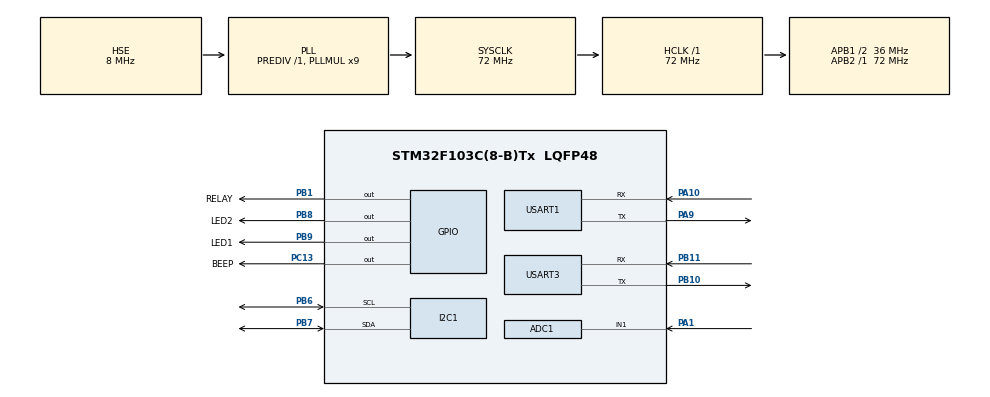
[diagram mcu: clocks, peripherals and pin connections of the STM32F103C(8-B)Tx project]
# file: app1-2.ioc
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ADC1.Channel-0\#ChannelRegularConversion=ADC_CHANNEL_1
ADC1.NbrOfConversionFlag=1
ADC1.Rank-0\#ChannelRegularConversion=1
ADC1.SamplingTime-0\#ChannelRegularConversion=ADC_SAMPLETIME_239CYCLES_5
ADC1.master=1
Dma.Request0=USART3_RX
Dma.USART3_RX.0.Direction=DMA_PERIPH_TO_MEMORY
Dma.USART3_RX.0.Instance=DMA1_Channel3
Dma.USART3_RX.0.MemDataAlignment=DMA_MDATAALIGN_BYTE
Dma.USART3_RX.0.MemInc=DMA_MINC_ENABLE
Dma.USART3_RX.0.Mode=DMA_CIRCULAR
Dma.USART3_RX.0.PeriphDataAlignment=DMA_PDATAALIGN_BYTE
Dma.USART3_RX.0.PeriphInc=DMA_PINC_DISABLE
Dma.USART3_RX.0.Priority=DMA_PRIORITY_HIGH
Mcu.Family=STM32F1
Mcu.Name=STM32F103C(8-B)Tx
Mcu.Package=LQFP48
NVIC.DMA1_Channel3_IRQn=true\:0\:0\:false\:false\:true\:false\:true\:true
NVIC.PriorityGroup=NVIC_PRIORITYGROUP_4
NVIC.TIM1_UP_IRQn=true\:15\:0\:false\:false\:true\:true\:true\:true
NVIC.TIM4_IRQn=true\:0\:0\:false\:false\:true\:true\:true\:true
NVIC.TimeBase=TIM1_UP_IRQn
NVIC.TimeBaseIP=TIM1
NVIC.USART3_IRQn=true\:0\:0\:false\:false\:true\:true\:true\:true
PA1.Signal=ADCx_IN1
PA10.Mode=Asynchronous
PA10.Signal=USART1_RX
PA13.Mode=Serial_Wire
PA13.Signal=SYS_JTMS-SWDIO
PA14.Mode=Serial_Wire
PA14.Signal=SYS_JTCK-SWCLK
PA9.Mode=Asynchronous
PA9.Signal=USART1_TX
PB1.GPIO_Label=RELAY
PB1.Signal=GPIO_Output
PB10.Mode=Asynchronous
PB10.Signal=USART3_TX
PB11.Mode=Asynchronous
PB11.Signal=USART3_RX
PB6.Mode=I2C
PB6.Signal=I2C1_SCL
PB7.Mode=I2C
PB7.Signal=I2C1_SDA
PB8.GPIO_Label=LED2
PB8.PinState=GPIO_PIN_SET
PB8.Signal=GPIO_Output
PB9.GPIO_Label=LED1
PB9.PinState=GPIO_PIN_SET
PB9.Signal=GPIO_Output
PC13-TAMPER-RTC.GPIO_Label=BEEP
PC13-TAMPER-RTC.Signal=GPIO_Output
PD0-OSC_IN.Mode=HSE-External-Oscillator
PD0-OSC_IN.Signal=RCC_OSC_IN
PD1-OSC_OUT.Mode=HSE-External-Oscillator
PD1-OSC_OUT.Signal=RCC_OSC_OUT
ProjectManager.HeapSize=0x400
ProjectManager.StackSize=0x800
ProjectManager.TargetToolchain=MDK-ARM V5.32
RCC.ADCPresc=RCC_ADCPCLK2_DIV6
RCC.AHBFreq_Value=72000000
RCC.APB1CLKDivider=RCC_HCLK_DIV2
RCC.APB1Freq_Value=36000000
RCC.APB1TimFreq_Value=72000000
RCC.APB2Freq_Value=72000000
RCC.APB2TimFreq_Value=72000000
RCC.HCLKFreq_Value=72000000
RCC.PLLMUL=RCC_PLL_MUL9
RCC.PLLSourceVirtual=RCC_PLLSOURCE_HSE
RCC.RTCClockSelection=RCC_RTCCLKSOURCE_HSE_DIV128
RCC.SYSCLKFreq_VALUE=72000000
RCC.SYSCLKSource=RCC_SYSCLKSOURCE_PLLCLK
RCC.USBFreq_Value=72000000
SH.ADCx_IN1.0=ADC1_IN1,IN1
TIM4.AutoReloadPreload=TIM_AUTORELOAD_PRELOAD_DISABLE
TIM4.Period=100
TIM4.Prescaler=7200-1
USART1.VirtualMode=VM_ASYNC
USART3.VirtualMode=VM_ASYNC
VP_SYS_VS_tim1.Mode=TIM1
VP_TIM4_VS_ClockSourceINT.Mode=Internal
board=custom

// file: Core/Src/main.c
/* USER CODE BEGIN Header */
/**
  ******************************************************************************
  * @file           : main.c
  * @brief          : Main program body
  ******************************************************************************
  * @attention
  *
  * Copyright (c) 2025 STMicroelectronics.
  * All rights reserved.
  *
  * This software is licensed under terms that can be found in the LICENSE file
  * in the root directory of this software component.
  * If no LICENSE file comes with this software, it is provided AS-IS.
  *
  ******************************************************************************
  */
/* USER CODE END Header */
#include "main.h"
#include "adc.h"
#include "dma.h"
#include "i2c.h"
#include "tim.h"
#include "usart.h"
#include "gpio.h"

/* USER CODE BEGIN Includes */
#include <stdio.h>
#include "oled.h"
#include "aht20.h"
#include "ina226.h"
#include "modbus.h"
#include "wifi4g.h"
#include "mqtt.h"
#include "boot.h"
/* USER CODE END Includes */

void SystemClock_Config(void);

int main(void)
{

  /* USER CODE BEGIN 1 */
	SCB->VTOR = FLASH_BASE | Application_1_Addr ; /* 更改中断向量表地址 偏移到APP1 地址 	*/
  /* USER CODE END 1 */

  /* MCU Configuration--------------------------------------------------------*/

  /* Reset of all peripherals, Initializes the Flash interface and the Systick. */
  HAL_Init();

  /* Configure the system clock */
  SystemClock_Config();

  /* Initialize all configured peripherals */
  MX_GPIO_Init();
  MX_DMA_Init();
  MX_USART1_UART_Init();
  MX_USART3_UART_Init();
  MX_I2C1_Init();
  MX_ADC1_Init();
  MX_TIM4_Init();
  /* USER CODE BEGIN 2 */
	printf("> OTA Control\n");
	printf("> OTA1.2\n");
	OLED_Init();
	OLED_CLS(); // 清除屏幕显示
	OLED_ShowStr(16,0, (unsigned char*)" OTA Control ", 2);
	OLED_ShowStr(0,3,  (unsigned char*)"MQTTServer... --", 2);
	OLED_ShowStr(0,6,  (unsigned char*)"OTA1.2          ", 2);
	//AHT20_Init();
	INA226_Init();

	__HAL_UART_ENABLE_IT(&huart3, UART_IT_IDLE); //使能串UART3 IDLE(空闲)中断
	HAL_UART_Receive_DMA(&huart3, RX3_Buf, DMA_BUF_SIZE); //设置DMA传输，将uart3的数据搬运到RX3_Buf中

	Queue_Init(&QUART3) ; // 队列初始化
	if(MQTT_Connect_Server() == SET)
	{
			MQTT_Download_Flag = 1 ; //  开启解析 服务器数据的标志位
			//printf("MQTT 服务器连接成功  \n");
	}

  /* USER CODE END 2 */

  /* Infinite loop */
  /* USER CODE BEGIN WHILE */
  while (1)
  {
		Modbus_Parse();

		if(MQTT_UPLoad_Flag) // 每隔5秒执行1次
		{
				MQTT_UPLoad_Flag = 0 ;
				HAL_GPIO_TogglePin(LED2_GPIO_Port,LED2_Pin);
				MQTT_SendData((uint8_t *)PUB1,1,NULL);
		}
		// 接收固件并擦除Flash ， 耗时操作不能写到中断函数内
		// 开始进行OTA升级操作
		if(MQTT_OTA_FLAG)
		{
				MQTT_OTA_FLAG = 0 ;
				HAL_Delay(1000); // 延时1秒
				MQTT_OTA_GetFW();
		}
    /* USER CODE END WHILE */

  }
}

void SystemClock_Config(void)
{
  RCC_OscInitTypeDef RCC_OscInitStruct = {0};
  RCC_ClkInitTypeDef RCC_ClkInitStruct = {0};
  RCC_PeriphCLKInitTypeDef PeriphClkInit = {0};

  /** Initializes the RCC Oscillators according to the specified parameters
  * in the RCC_OscInitTypeDef structure.
  */
  RCC_OscInitStruct.OscillatorType = RCC_OSCILLATORTYPE_HSE;
  RCC_OscInitStruct.HSEState = RCC_HSE_ON;
  RCC_OscInitStruct.HSEPredivValue = RCC_HSE_PREDIV_DIV1;
  RCC_OscInitStruct.HSIState = RCC_HSI_ON;
  RCC_OscInitStruct.PLL.PLLState = RCC_PLL_ON;
  RCC_OscInitStruct.PLL.PLLSource = RCC_PLLSOURCE_HSE;
  RCC_OscInitStruct.PLL.PLLMUL = RCC_PLL_MUL9;
  if (HAL_RCC_OscConfig(&RCC_OscInitStruct) != HAL_OK)
  {
    Error_Handler();
  }

  /** Initializes the CPU, AHB and APB buses clocks
  */
  RCC_ClkInitStruct.ClockType = RCC_CLOCKTYPE_HCLK|RCC_CLOCKTYPE_SYSCLK
                              |RCC_CLOCKTYPE_PCLK1|RCC_CLOCKTYPE_PCLK2;
  RCC_ClkInitStruct.SYSCLKSource = RCC_SYSCLKSOURCE_PLLCLK;
  RCC_ClkInitStruct.AHBCLKDivider = RCC_SYSCLK_DIV1;
  RCC_ClkInitStruct.APB1CLKDivider = RCC_HCLK_DIV2;
  RCC_ClkInitStruct.APB2CLKDivider = RCC_HCLK_DIV1;

  if (HAL_RCC_ClockConfig(&RCC_ClkInitStruct, FLASH_LATENCY_2) != HAL_OK)
  {
    Error_Handler();
  }
  PeriphClkInit.PeriphClockSelection = RCC_PERIPHCLK_ADC;
  PeriphClkInit.AdcClockSelection = RCC_ADCPCLK2_DIV6;
  if (HAL_RCCEx_PeriphCLKConfig(&PeriphClkInit) != HAL_OK)
  {
    Error_Handler();
  }
}

void HAL_TIM_PeriodElapsedCallback(TIM_HandleTypeDef *htim)
{
  /* USER CODE BEGIN Callback 0 */
	static uint32_t Count500ms = 0  ;
	static uint32_t Count5000ms = 0  ;
  /* USER CODE END Callback 0 */
  if (htim->Instance == TIM1)
  {
    HAL_IncTick();
  }
  /* USER CODE BEGIN Callback 1 */

	// 定时500ms, 产生中断
	if(htim->Instance == TIM1)
	{

			Count500ms++ ;
			Count5000ms++ ;
			if(Count500ms >= 500 )
			{
					Count500ms = 0 ;
					TIM1_Timeout_Flag = 1;
			}
			if(Count5000ms >= 5000 )
			{
					Count5000ms = 0 ;
					MQTT_UPLoad_Flag = 1;
			}
	}
		// 定时10ms, 产生中断
	else if(htim->Instance == TIM4)
	{
		// 关闭定时器  ， 开始处理接收的数据
		HAL_TIM_Base_Stop(&htim4); // 关闭定时器4中断
		WIFI4G_CMD_Status =  WIFI4G_Parse_Queue(&QUART3) ;
	}
  /* USER CODE END Callback 1 */
}

void Error_Handler(void)
{
  __disable_irq();
  while (1)
  {
  }
}
